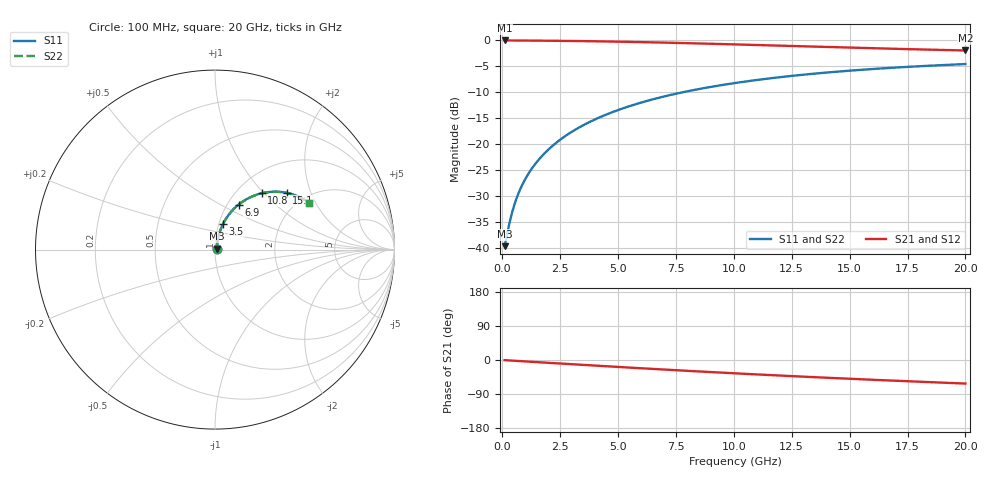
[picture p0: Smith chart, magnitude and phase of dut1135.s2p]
! Touchstone file exported from HFSS 2026.1.0
!  File:  C:/ffzhzh/LocalFiles/Ansys_Project_Files/temp_train_BSMRDL_1135_1783175372_18472.aedt
!  Generated:  10:31:06 PM Jul  4, 2026
!  Design:  BSMRDL
!  Project:  temp_train_BSMRDL_1135_1783175372_18472
! Variables:
!  h_bsmrdl = 2.53um
!  h_ox = 20um
!  h_rdl = 5um
!  h_sub = 80um
!  h_tmrdl = 5um
!  h_tsv = 80um
!  h_via = 3um
!  l_bsmrdl = 943.21um
!  l_sub = 1343.21um
!  l_tmrdl = 200um
!  m_sub = 200um
!  pitch = 43.42um
!  r_tsv = 6um
!  s_tmrdl = 10um
!  w_bsmrdl = 14.3um
!  w_sub = 500um
!  w_tmrdl = 12um
!  x_tsv_center1 = 206um
!  x_tsv_center2 = 1163.51um
!  x_tsv_center3 = 1375.51um
!  x_tsv_center4 = 2333.02um
!  x_tsv_center5 = 2545.02um
!  x_tsv_center6 = 3502.53um
# GHz S MA R 50.000000
! Terminal data exported
! Port[1] = BSM_RDL1_1_T1
! Port[2] = BSM_RDL1_1_T2
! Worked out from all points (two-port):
!   200 points, 100 MHz to 20 GHz, reference 50 ohm
!   highest |S21| = -0.08 dB at 100 MHz (marker M1); lowest = -2.0 dB at 20 GHz (marker M2)
!   |S21| within 3 dB of the highest: start of sweep to end of sweep
!   lowest |S11| = -39.7 dB at 100 MHz (marker M3), VSWR 1.02, Z = 50.9 + j0.471 ohm
!   |S11| at or under -10 dB: start of sweep to 7.86 GHz
!   |S22| runs from -39.7 to -4.6 dB; largest |S21 - S12| = 3.3e-15
!   S11 on the Smith chart (normalised r, x): 100 MHz: 1.02, +0.01; 3.5 GHz: 1.05, +0.31; 6.9 GHz: 1.13, +0.61; 10.8 GHz: 1.29, +0.97; 15.1 GHz: 1.60, +1.37; 20 GHz: 2.24, +1.78
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0.1  0.01033 26.6  0.9908 -0.4  0.9908 -0.4  0.01033 26.6
! Gamma 0 0 0 0
! Port Impedance 50 0 50 0
0.3  0.01686 54.6  0.9904 -1.2  0.9904 -1.2  0.01686 54.6
0.4  0.02086 60.8  0.9902 -1.5  0.9902 -1.5  0.02086 60.8
0.6  0.02918 67.5  0.9896 -2.3  0.9896 -2.3  0.02918 67.5
0.7  0.0334 69.5  0.9893 -2.7  0.9893 -2.7  0.0334 69.5
0.9  0.04185 72.0  0.9886 -3.4  0.9886 -3.4  0.04185 72.0
1.2  0.05456 74.0  0.9877 -4.5  0.9877 -4.5  0.05456 74.0
1.7  0.07577 75.1  0.986 -6.4  0.986 -6.4  0.07577 75.1
2.2  0.09696 75.0  0.9839 -8.2  0.9839 -8.2  0.09696 75.0
2.8  0.1222 74.1  0.9809 -10.4  0.9809 -10.4  0.1222 74.1
3.5  0.1513 72.5  0.9766 -13.0  0.9766 -13.0  0.1513 72.5
4.2  0.1799 70.6  0.9715 -15.5  0.9715 -15.5  0.1799 70.6
5  0.2116 68.2  0.9648 -18.3  0.9648 -18.3  0.2116 68.2
6.8  0.2793 62.7  0.9468 -24.6  0.9468 -24.6  0.2793 62.6
6.9  0.2828 62.4  0.9457 -24.9  0.9457 -24.9  0.2828 62.3
8.4  0.3342 57.7  0.9283 -29.9  0.9283 -29.9  0.3342 57.6
10.1  0.387 52.5  0.9072 -35.3  0.9072 -35.3  0.387 52.4
10.8  0.407 50.4  0.8983 -37.5  0.8983 -37.5  0.407 50.3
13.4  0.4727 43.0  0.8652 -45.1  0.8652 -45.1  0.4727 42.9
15.1  0.5088 38.4  0.8445 -49.8  0.8445 -49.8  0.5088 38.3
16.7  0.5383 34.3  0.8261 -54.0  0.8261 -54.0  0.5383 34.2
20  0.5867 26.4  0.7931 -62.2  0.7931 -62.2  0.5866 26.2
